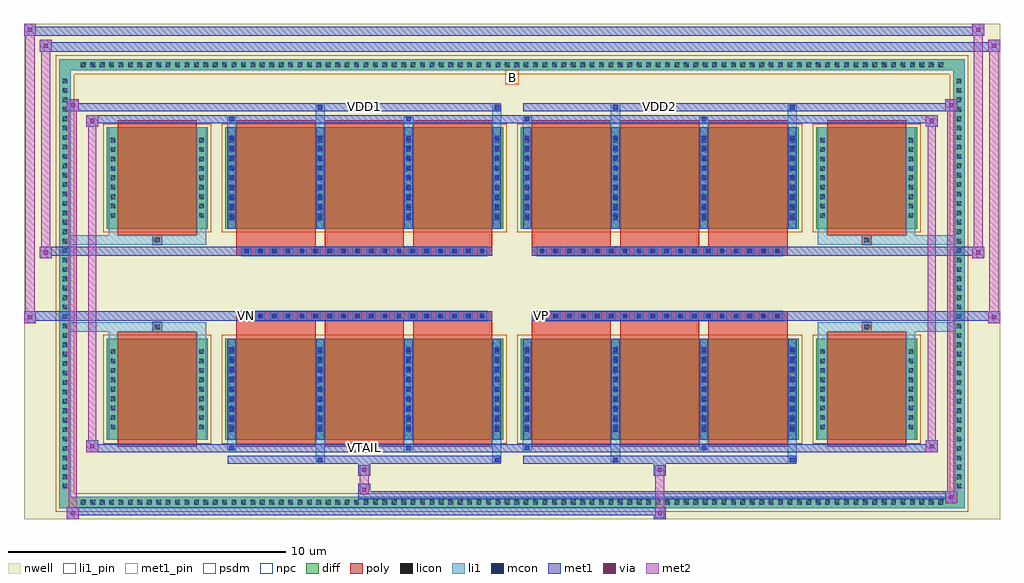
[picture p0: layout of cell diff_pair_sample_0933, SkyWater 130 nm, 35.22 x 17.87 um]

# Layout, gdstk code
import gdstk
lib = gdstk.Library(unit=1e-6, precision=5e-09)
def R(c, l, rs):  # rectangles x0, y0, x1, y1
    for r in rs: c.add(gdstk.rectangle(r[:2], r[2:], *l))
def A(c, l, x, y, w, h, nx, ny, dx, dy):  # array of equal rectangles
    R(c, l, [(x+i*dx, y+j*dy, x+i*dx+w, y+j*dy+h) for i in range(nx) for j in range(ny)])
def P(c, l, *ps):  # polygons
    for p in ps: c.add(gdstk.Polygon(p, *l))
nwell = (64, 20)
diff = (65, 20)
poly = (66, 20)
licon = (66, 44)
li1_pin = (67, 16)
li1 = (67, 20)
mcon = (67, 44)
met1_pin = (68, 16)
met1 = (68, 20)
via = (68, 44)
met2 = (69, 20)
psdm = (94, 20)
npc = (95, 20)

diff_pair_sample_0933 = lib.new_cell('diff_pair_sample_0933')
R(diff_pair_sample_0933, nwell, [(-17.61,-8.5,17.61,9.37), (-14.93,-6.69,-0.01,-0.805), (0.01,-6.69,14.93,-0.805), (-14.93,0.805,-0.01,6.69), (0.01,0.805,14.93,6.69)])
A(diff_pair_sample_0933, diff, -15.675, -8.1, 0.41, 0.41, 92, 2, 0.34, 15.79)
A(diff_pair_sample_0933, diff, -16.34, -7.515, 0.41, 0.41, 1, 44, 0, 0.34)
A(diff_pair_sample_0933, diff, 15.93, -7.515, 0.41, 0.41, 1, 44, 0, 0.34)
R(diff_pair_sample_0933, diff, [(-15.675,-8.1,15.675,-7.69), (-16.34,-7.515,-15.93,7.515), (15.93,-7.515,16.34,7.515), (-14.62,-5.645,-10.98,-1.985), (-10.34,-5.645,-0.32,-1.985), (0.32,-5.645,10.34,-1.985), (10.98,-5.645,14.62,-1.985), (-14.62,1.985,-10.98,5.645), (-10.34,1.985,-0.32,5.645), (0.32,1.985,10.34,5.645), (10.98,1.985,14.62,5.645), (-15.675,7.69,15.675,8.1)])
P(diff_pair_sample_0933, diff, [(16.34,8.1),(-16.34,8.1),(-16.34,-7.69),(-15.93,-7.69),(-15.93,7.69),(15.93,7.69),(15.93,-7.69),(-15.93,-7.69),(-16.34,-7.69),(-16.34,-8.1),(16.34,-8.1)])
A(diff_pair_sample_0933, poly, -9.95, -5.895, 2.86, 4.16, 3, 2, 3.19, 7.63)
A(diff_pair_sample_0933, poly, 0.71, -5.895, 2.86, 4.16, 3, 2, 3.19, 7.63)
A(diff_pair_sample_0933, poly, -9.95, -1.735, 2.86, 0.4, 3, 2, 3.19, 3.07)
A(diff_pair_sample_0933, poly, 0.71, -1.735, 2.86, 0.4, 3, 2, 3.19, 3.07)
A(diff_pair_sample_0933, poly, -9.745, -1.335, 0.33, 0.33, 18, 2, 0.5, 2.34)
A(diff_pair_sample_0933, poly, 0.915, -1.335, 0.33, 0.33, 18, 2, 0.5, 2.34)
R(diff_pair_sample_0933, poly, [(-14.23,-5.895,-11.37,-1.735), (11.37,-5.895,14.23,-1.735), (-12.965,-1.735,-12.635,-1.405), (-12.965,-1.735,-12.635,-1.405), (12.635,-1.735,12.965,-1.405), (12.635,-1.735,12.965,-1.405), (-9.95,-1.335,-0.71,-1.005), (0.71,-1.335,9.95,-1.005), (-9.95,1.005,-0.71,1.335), (0.71,1.005,9.95,1.335), (-12.965,1.405,-12.635,1.735), (-12.965,1.405,-12.635,1.735), (12.635,1.405,12.965,1.735), (12.635,1.405,12.965,1.735), (-14.23,1.735,-11.37,5.895), (11.37,1.735,14.23,5.895)])
A(diff_pair_sample_0933, licon, -15.555, -7.98, 0.17, 0.17, 92, 2, 0.34, 15.79)
A(diff_pair_sample_0933, licon, -16.22, -7.395, 0.17, 0.17, 1, 44, 0, 0.34)
A(diff_pair_sample_0933, licon, 16.05, -7.395, 0.17, 0.17, 1, 44, 0, 0.34)
A(diff_pair_sample_0933, licon, -14.48, -5.26, 0.17, 0.17, 1, 9, 0, 0.34)
A(diff_pair_sample_0933, licon, -11.29, -5.26, 0.17, 0.17, 1, 9, 0, 0.34)
A(diff_pair_sample_0933, licon, -10.2, -5.26, 0.17, 0.17, 4, 9, 3.19, 0.34)
A(diff_pair_sample_0933, licon, 0.46, -5.26, 0.17, 0.17, 4, 9, 3.19, 0.34)
A(diff_pair_sample_0933, licon, 11.12, -5.26, 0.17, 0.17, 1, 9, 0, 0.34)
A(diff_pair_sample_0933, licon, 14.31, -5.26, 0.17, 0.17, 1, 9, 0, 0.34)
A(diff_pair_sample_0933, licon, -9.665, -1.255, 0.17, 0.17, 18, 2, 0.5, 2.34)
A(diff_pair_sample_0933, licon, 0.995, -1.255, 0.17, 0.17, 18, 2, 0.5, 2.34)
A(diff_pair_sample_0933, licon, -14.48, 2.37, 0.17, 0.17, 1, 9, 0, 0.34)
A(diff_pair_sample_0933, licon, -11.29, 2.37, 0.17, 0.17, 1, 9, 0, 0.34)
A(diff_pair_sample_0933, licon, -10.2, 2.37, 0.17, 0.17, 4, 9, 3.19, 0.34)
A(diff_pair_sample_0933, licon, 0.46, 2.37, 0.17, 0.17, 4, 9, 3.19, 0.34)
A(diff_pair_sample_0933, licon, 11.12, 2.37, 0.17, 0.17, 1, 9, 0, 0.34)
A(diff_pair_sample_0933, licon, 14.31, 2.37, 0.17, 0.17, 1, 9, 0, 0.34)
R(diff_pair_sample_0933, licon, [(-12.885,-1.655,-12.715,-1.485), (12.715,-1.655,12.885,-1.485), (-12.885,1.485,-12.715,1.655), (12.715,1.485,12.885,1.655)])
R(diff_pair_sample_0933, li1_pin, [(-0.25,7.19,0.25,7.69)])
A(diff_pair_sample_0933, li1, -15.635, -8.06, 0.33, 0.33, 92, 2, 0.34, 15.79)
A(diff_pair_sample_0933, li1, -16.3, -7.475, 0.33, 0.33, 1, 44, 0, 0.34)
A(diff_pair_sample_0933, li1, 15.97, -7.475, 0.33, 0.33, 1, 44, 0, 0.34)
A(diff_pair_sample_0933, li1, -10.28, -5.645, 0.33, 3.66, 4, 2, 3.19, 7.63)
A(diff_pair_sample_0933, li1, 0.38, -5.645, 0.33, 3.66, 4, 2, 3.19, 7.63)
A(diff_pair_sample_0933, li1, -14.56, -5.34, 0.33, 0.33, 1, 9, 0, 0.34)
A(diff_pair_sample_0933, li1, -11.37, -5.34, 0.33, 0.33, 1, 9, 0, 0.34)
A(diff_pair_sample_0933, li1, -10.28, -5.34, 0.33, 0.33, 4, 9, 3.19, 0.34)
A(diff_pair_sample_0933, li1, -10.2, -5.34, 0.17, 0.17, 4, 9, 3.19, 0.36)
A(diff_pair_sample_0933, li1, -10.2, -5.34, 0.17, 3.05, 4, 2, 3.19, 7.63)
A(diff_pair_sample_0933, li1, 0.38, -5.34, 0.33, 0.33, 4, 9, 3.19, 0.34)
A(diff_pair_sample_0933, li1, 0.46, -5.34, 0.17, 0.17, 4, 9, 3.19, 0.36)
A(diff_pair_sample_0933, li1, 0.46, -5.34, 0.17, 3.05, 4, 2, 3.19, 7.63)
A(diff_pair_sample_0933, li1, 11.04, -5.34, 0.33, 0.33, 1, 9, 0, 0.34)
A(diff_pair_sample_0933, li1, 14.23, -5.34, 0.33, 0.33, 1, 9, 0, 0.34)
A(diff_pair_sample_0933, li1, -9.745, -1.335, 0.33, 0.33, 18, 2, 0.5, 2.34)
A(diff_pair_sample_0933, li1, 0.915, -1.335, 0.33, 0.33, 18, 2, 0.5, 2.34)
A(diff_pair_sample_0933, li1, -14.56, 2.29, 0.33, 0.33, 1, 9, 0, 0.34)
A(diff_pair_sample_0933, li1, -11.37, 2.29, 0.33, 0.33, 1, 9, 0, 0.34)
A(diff_pair_sample_0933, li1, -10.28, 2.29, 0.33, 0.33, 4, 9, 3.19, 0.34)
A(diff_pair_sample_0933, li1, -10.2, 2.29, 0.17, 0.17, 4, 9, 3.19, 0.36)
A(diff_pair_sample_0933, li1, 0.38, 2.29, 0.33, 0.33, 4, 9, 3.19, 0.34)
A(diff_pair_sample_0933, li1, 0.46, 2.29, 0.17, 0.17, 4, 9, 3.19, 0.36)
A(diff_pair_sample_0933, li1, 11.04, 2.29, 0.33, 0.33, 1, 9, 0, 0.34)
A(diff_pair_sample_0933, li1, 14.23, 2.29, 0.33, 0.33, 1, 9, 0, 0.34)
R(diff_pair_sample_0933, li1, [(-16.34,-8.1,-15.93,-7.69), (-16.34,-8.1,-15.93,-7.69), (-15.93,-8.1,15.93,-7.69), (15.93,-8.1,16.34,-7.69), (15.93,-8.1,16.34,-7.69), (-16.34,-7.69,-15.93,7.69), (15.93,-7.69,16.34,7.69), (-7.09,-6.45,-6.76,-5.645), (-7.01,-6.45,-6.84,-6.28), (-0.71,-6.45,-0.38,-5.645), (-0.63,-6.45,-0.46,-6.28), (3.57,-6.45,3.9,-5.645), (3.65,-6.45,3.82,-6.28), (9.95,-6.45,10.28,-5.645), (10.03,-6.45,10.2,-6.28), (-10.28,-6.02,-9.95,-5.645), (-10.2,-6.02,-10.03,-5.85), (-3.9,-6.02,-3.57,-5.645), (-3.82,-6.02,-3.65,-5.85), (0.38,-6.02,0.71,-5.645), (0.46,-6.02,0.63,-5.85), (6.76,-6.02,7.09,-5.645), (6.84,-6.02,7.01,-5.85), (-14.56,-5.645,-14.23,-1.985), (-11.37,-5.645,-11.04,-1.985), (11.04,-5.645,11.37,-1.985), (14.23,-5.645,14.56,-1.985), (-14.56,-1.985,-14.23,-1.405), (-11.37,-1.985,-11.04,-1.405), (11.04,-1.985,11.37,-1.405), (14.23,-1.985,14.56,-1.405), (-16.34,-1.735,-12.965,-1.405), (-14.56,-1.735,-12.965,-1.405), (-12.965,-1.735,-12.635,-1.405), (-12.635,-1.735,-11.04,-1.405), (11.04,-1.735,12.635,-1.405), (12.635,-1.735,12.965,-1.405), (12.635,-1.735,16.34,-1.405), (12.965,-1.735,14.56,-1.405), (-16.34,1.405,-12.965,1.735), (-14.56,1.405,-12.965,1.735), (-14.56,1.405,-14.23,1.985), (-12.965,1.405,-12.635,1.735), (-12.635,1.405,-11.04,1.735), (-11.37,1.405,-11.04,1.985), (11.04,1.405,12.635,1.735), (11.04,1.405,11.37,1.985), (12.635,1.405,12.965,1.735), (12.635,1.405,16.34,1.735), (12.965,1.405,14.56,1.735), (14.23,1.405,14.56,1.985), (-14.56,1.985,-14.23,5.645), (-11.37,1.985,-11.04,5.645), (11.04,1.985,11.37,5.645), (14.23,1.985,14.56,5.645), (-10.28,5.645,-9.95,6.02), (-7.09,5.645,-6.76,6.45), (-3.9,5.645,-3.57,6.02), (-0.71,5.645,-0.38,6.45), (0.38,5.645,0.71,6.02), (3.57,5.645,3.9,6.45), (6.76,5.645,7.09,6.02), (9.95,5.645,10.28,6.45), (-10.2,5.85,-10.03,6.02), (-3.82,5.85,-3.65,6.02), (0.46,5.85,0.63,6.02), (6.84,5.85,7.01,6.02), (-7.01,6.28,-6.84,6.45), (-0.63,6.28,-0.46,6.45), (3.65,6.28,3.82,6.45), (10.03,6.28,10.2,6.45), (-16.34,7.69,-15.93,8.1), (-16.34,7.69,-15.93,8.1), (-15.93,7.69,15.93,8.1), (15.93,7.69,16.34,8.1), (15.93,7.69,16.34,8.1)])
A(diff_pair_sample_0933, mcon, -10.2, -5.34, 0.17, 0.17, 4, 9, 3.19, 0.36)
A(diff_pair_sample_0933, mcon, 0.46, -5.34, 0.17, 0.17, 4, 9, 3.19, 0.36)
A(diff_pair_sample_0933, mcon, -9.665, -1.255, 0.17, 0.17, 18, 2, 0.5, 2.34)
A(diff_pair_sample_0933, mcon, 0.995, -1.255, 0.17, 0.17, 18, 2, 0.5, 2.34)
A(diff_pair_sample_0933, mcon, -10.2, 2.29, 0.17, 0.17, 4, 9, 3.19, 0.36)
A(diff_pair_sample_0933, mcon, 0.46, 2.29, 0.17, 0.17, 4, 9, 3.19, 0.36)
R(diff_pair_sample_0933, mcon, [(-7.01,-6.45,-6.84,-6.28), (-0.63,-6.45,-0.46,-6.28), (3.65,-6.45,3.82,-6.28), (10.03,-6.45,10.2,-6.28), (-10.2,-6.02,-10.03,-5.85), (-3.82,-6.02,-3.65,-5.85), (0.46,-6.02,0.63,-5.85), (6.84,-6.02,7.01,-5.85), (-10.2,5.85,-10.03,6.02), (-3.82,5.85,-3.65,6.02), (0.46,5.85,0.63,6.02), (6.84,5.85,7.01,6.02), (-7.01,6.28,-6.84,6.45), (-0.63,6.28,-0.46,6.45), (3.65,6.28,3.82,6.45), (10.03,6.28,10.2,6.45)])
R(diff_pair_sample_0933, met1_pin, [(-5.465,-6.06,-5.195,-5.79), (-9.715,-1.295,-9.445,-1.025), (0.945,-1.295,1.215,-1.025), (-5.465,6.24,-5.195,6.51), (5.195,6.24,5.465,6.51)])
A(diff_pair_sample_0933, met1, -10.26, -5.645, 0.29, 3.66, 4, 2, 3.19, 7.63)
A(diff_pair_sample_0933, met1, 0.4, -5.645, 0.29, 3.66, 4, 2, 3.19, 7.63)
A(diff_pair_sample_0933, met1, -10.26, -5.4, 0.29, 0.29, 4, 9, 3.19, 0.36)
A(diff_pair_sample_0933, met1, 0.4, -5.4, 0.29, 0.29, 4, 9, 3.19, 0.36)
A(diff_pair_sample_0933, met1, -9.725, -1.315, 0.29, 0.29, 18, 2, 0.5, 2.34)
A(diff_pair_sample_0933, met1, 0.935, -1.315, 0.29, 0.29, 18, 2, 0.5, 2.34)
A(diff_pair_sample_0933, met1, -10.26, 2.23, 0.29, 0.29, 4, 9, 3.19, 0.36)
A(diff_pair_sample_0933, met1, 0.4, 2.23, 0.29, 0.29, 4, 9, 3.19, 0.36)
R(diff_pair_sample_0933, met1, [(-16.07,-8.5,-15.64,-8.07), (5.115,-8.5,5.545,-8.07), (-16.07,-8.36,5.545,-8.07), (15.64,-7.93,16.07,-7.5), (-5.545,-7.79,16.07,-7.5), (-5.545,-7.65,-5.115,-7.22), (-5.545,-6.94,-5.115,-6.51), (5.115,-6.94,5.545,-6.51), (-10.26,-6.51,-0.4,-6.22), (-7.07,-6.51,-6.78,-6.22), (-0.69,-6.51,-0.4,-6.22), (0.4,-6.51,10.26,-6.22), (3.59,-6.51,3.88,-6.22), (9.97,-6.51,10.26,-6.22), (-15.36,-6.08,-14.93,-5.65), (-15.36,-6.08,-10.26,-5.79), (-10.26,-6.08,-9.97,-5.79), (-10.26,-6.08,-0.4,-5.79), (-3.88,-6.08,-3.59,-5.79), (-0.4,-6.08,0.4,-5.79), (0.4,-6.08,0.69,-5.79), (0.4,-6.08,10.26,-5.79), (6.78,-6.08,7.07,-5.79), (10.26,-6.08,15.36,-5.79), (14.93,-6.08,15.36,-5.65), (-17.61,-1.435,-17.18,-1.005), (17.18,-1.435,17.61,-1.005), (-17.61,-1.335,-0.71,-1.005), (-9.95,-1.335,-0.71,-1.005), (0.71,-1.335,9.95,-1.005), (0.71,-1.335,17.61,-1.005), (-17.04,0.905,-16.61,1.335), (16.61,0.905,17.04,1.335), (-17.04,1.005,-9.95,1.335), (-9.95,1.005,-0.71,1.335), (0.71,1.005,9.95,1.335), (9.95,1.005,17.04,1.335), (-15.36,5.65,-14.93,6.08), (14.93,5.65,15.36,6.08), (-15.36,5.79,-10.26,6.08), (-10.26,5.79,-9.97,6.08), (-10.26,5.79,-0.4,6.08), (-3.88,5.79,-3.59,6.08), (-0.4,5.79,0.4,6.08), (0.4,5.79,0.69,6.08), (0.4,5.79,10.26,6.08), (6.78,5.79,7.07,6.08), (10.26,5.79,15.36,6.08), (-16.07,6.22,-15.64,6.65), (-16.07,6.22,-10.26,6.51), (-10.26,6.22,-0.4,6.51), (-7.07,6.22,-6.78,6.51), (-0.69,6.22,-0.4,6.51), (0.4,6.22,10.26,6.51), (3.59,6.22,3.88,6.51), (9.97,6.22,10.26,6.51), (10.26,6.22,16.07,6.51), (15.64,6.22,16.07,6.65), (-17.04,8.37,-16.61,8.8), (-17.04,8.37,-14.93,8.7), (-14.93,8.37,14.93,8.7), (14.93,8.37,17.61,8.7), (17.18,8.37,17.61,8.8), (-17.61,8.94,-17.18,9.37), (-17.61,8.94,-14.93,9.27), (-14.93,8.94,14.93,9.27), (14.93,8.94,17.04,9.27), (16.61,8.94,17.04,9.37)])
R(diff_pair_sample_0933, via, [(-15.93,-8.36,-15.78,-8.21), (5.255,-8.36,5.405,-8.21), (15.78,-7.79,15.93,-7.64), (-5.405,-7.51,-5.255,-7.36), (-5.405,-6.8,-5.255,-6.65), (5.255,-6.8,5.405,-6.65), (-15.22,-5.94,-15.07,-5.79), (15.07,-5.94,15.22,-5.79), (-17.47,-1.295,-17.32,-1.145), (17.32,-1.295,17.47,-1.145), (-16.9,1.045,-16.75,1.195), (16.75,1.045,16.9,1.195), (-15.22,5.79,-15.07,5.94), (15.07,5.79,15.22,5.94), (-15.93,6.36,-15.78,6.51), (15.78,6.36,15.93,6.51), (-16.9,8.51,-16.75,8.66), (17.32,8.51,17.47,8.66), (-17.47,9.08,-17.32,9.23), (16.75,9.08,16.9,9.23)])
R(diff_pair_sample_0933, met2, [(-16.07,-8.5,-15.64,-8.07), (-16,-8.5,-15.71,6.65), (-15.71,-8.5,-15.64,-8.07), (-16.02,-8.45,-15.69,-8.12), (5.165,-8.45,5.495,-8.12), (5.165,-8.12,5.495,-6.89), (15.64,-7.93,16.07,-7.5), (15.71,-7.93,16,6.65), (16,-7.93,16.07,-7.5), (15.69,-7.88,16.02,-7.55), (-5.495,-7.6,-5.165,-7.27), (-5.495,-7.27,-5.165,-6.89), (-5.495,-6.89,-5.165,-6.56), (5.165,-6.89,5.495,-6.56), (-15.36,-6.08,-14.93,-5.65), (-15.29,-6.08,-15,6.08), (-15,-6.08,-14.93,-5.65), (14.93,-6.08,15.36,-5.65), (15,-6.08,15.29,6.08), (15.29,-6.08,15.36,-5.65), (-15.31,-6.03,-14.98,-5.7), (14.98,-6.03,15.31,-5.7), (-17.61,-1.435,-17.18,-1.005), (-17.56,-1.435,-17.23,9.37), (-17.23,-1.435,-17.18,-1.005), (17.18,-1.435,17.61,-1.005), (17.23,-1.435,17.56,8.8), (17.56,-1.435,17.61,-1.005), (-17.56,-1.385,-17.23,-1.055), (17.23,-1.385,17.56,-1.055), (-17.04,0.905,-16.61,1.335), (-16.99,0.905,-16.66,8.8), (-16.66,0.905,-16.61,1.335), (16.61,0.905,17.04,1.335), (16.66,0.905,16.99,9.37), (16.99,0.905,17.04,1.335), (-16.99,0.955,-16.66,1.285), (16.66,0.955,16.99,1.285), (-15.36,5.65,-14.93,6.08), (-15,5.65,-14.93,6.08), (14.93,5.65,15.36,6.08), (15.29,5.65,15.36,6.08), (-15.31,5.7,-14.98,6.03), (14.98,5.7,15.31,6.03), (-16.07,6.22,-15.64,6.65), (-15.71,6.22,-15.64,6.65), (15.64,6.22,16.07,6.65), (16,6.22,16.07,6.65), (-16.02,6.27,-15.69,6.6), (15.69,6.27,16.02,6.6), (-17.04,8.37,-16.61,8.8), (-16.66,8.37,-16.61,8.8), (17.18,8.37,17.61,8.8), (17.56,8.37,17.61,8.8), (-16.99,8.42,-16.66,8.75), (17.23,8.42,17.56,8.75), (-17.61,8.94,-17.18,9.37), (-17.23,8.94,-17.18,9.37), (16.61,8.94,17.04,9.37), (16.99,8.94,17.04,9.37), (-17.56,8.99,-17.23,9.32), (16.66,8.99,16.99,9.32)])
R(diff_pair_sample_0933, psdm, [(-14.75,-5.775,-10.85,-1.855), (-10.47,-5.775,-0.19,-1.855), (0.19,-5.775,10.47,-1.855), (10.85,-5.775,14.75,-1.855), (-14.75,1.855,-10.85,5.775), (-10.47,1.855,-0.19,5.775), (0.19,1.855,10.47,5.775), (10.85,1.855,14.75,5.775)])
P(diff_pair_sample_0933, psdm, [(16.47,8.23),(-16.47,8.23),(-16.47,-7.56),(-15.8,-7.56),(-15.8,7.56),(15.8,7.56),(15.8,-7.56),(-15.8,-7.56),(-16.47,-7.56),(-16.47,-8.23),(16.47,-8.23)])
A(diff_pair_sample_0933, npc, -9.765, -1.355, 0.37, 0.37, 18, 2, 0.5, 2.34)
A(diff_pair_sample_0933, npc, 0.895, -1.355, 0.37, 0.37, 18, 2, 0.5, 2.34)
R(diff_pair_sample_0933, npc, [(-12.985,-1.755,-12.615,-1.385), (12.615,-1.755,12.985,-1.385), (-9.765,-1.355,-8.895,-0.985), (-9.765,-1.355,-8.895,-0.985), (-9.265,-1.355,-8.395,-0.985), (-9.265,-1.355,-8.395,-0.985), (-8.765,-1.355,-7.895,-0.985), (-8.765,-1.355,-7.895,-0.985), (-8.265,-1.355,-7.395,-0.985), (-8.265,-1.355,-7.395,-0.985), (-7.765,-1.355,-6.895,-0.985), (-7.765,-1.355,-6.895,-0.985), (-7.265,-1.355,-6.395,-0.985), (-7.265,-1.355,-6.395,-0.985), (-6.765,-1.355,-5.895,-0.985), (-6.765,-1.355,-5.895,-0.985), (-6.265,-1.355,-5.395,-0.985), (-6.265,-1.355,-5.395,-0.985), (-5.765,-1.355,-4.895,-0.985), (-5.765,-1.355,-4.895,-0.985), (-5.265,-1.355,-4.395,-0.985), (-5.265,-1.355,-4.395,-0.985), (-4.765,-1.355,-3.895,-0.985), (-4.765,-1.355,-3.895,-0.985), (-4.265,-1.355,-3.395,-0.985), (-4.265,-1.355,-3.395,-0.985), (-3.765,-1.355,-2.895,-0.985), (-3.765,-1.355,-2.895,-0.985), (-3.265,-1.355,-2.395,-0.985), (-3.265,-1.355,-2.395,-0.985), (-2.765,-1.355,-1.895,-0.985), (-2.765,-1.355,-1.895,-0.985), (-2.265,-1.355,-1.395,-0.985), (-2.265,-1.355,-1.395,-0.985), (-1.765,-1.355,-0.895,-0.985), (-1.765,-1.355,-0.895,-0.985), (0.895,-1.355,1.765,-0.985), (0.895,-1.355,1.765,-0.985), (1.395,-1.355,2.265,-0.985), (1.395,-1.355,2.265,-0.985), (1.895,-1.355,2.765,-0.985), (1.895,-1.355,2.765,-0.985), (2.395,-1.355,3.265,-0.985), (2.395,-1.355,3.265,-0.985), (2.895,-1.355,3.765,-0.985), (2.895,-1.355,3.765,-0.985), (3.395,-1.355,4.265,-0.985), (3.395,-1.355,4.265,-0.985), (3.895,-1.355,4.765,-0.985), (3.895,-1.355,4.765,-0.985), (4.395,-1.355,5.265,-0.985), (4.395,-1.355,5.265,-0.985), (4.895,-1.355,5.765,-0.985), (4.895,-1.355,5.765,-0.985), (5.395,-1.355,6.265,-0.985), (5.395,-1.355,6.265,-0.985), (5.895,-1.355,6.765,-0.985), (5.895,-1.355,6.765,-0.985), (6.395,-1.355,7.265,-0.985), (6.395,-1.355,7.265,-0.985), (6.895,-1.355,7.765,-0.985), (6.895,-1.355,7.765,-0.985), (7.395,-1.355,8.265,-0.985), (7.395,-1.355,8.265,-0.985), (7.895,-1.355,8.765,-0.985), (7.895,-1.355,8.765,-0.985), (8.395,-1.355,9.265,-0.985), (8.395,-1.355,9.265,-0.985), (8.895,-1.355,9.765,-0.985), (8.895,-1.355,9.765,-0.985), (-9.765,0.985,-8.895,1.355), (-9.765,0.985,-8.895,1.355), (-9.265,0.985,-8.395,1.355), (-9.265,0.985,-8.395,1.355), (-8.765,0.985,-7.895,1.355), (-8.765,0.985,-7.895,1.355), (-8.265,0.985,-7.395,1.355), (-8.265,0.985,-7.395,1.355), (-7.765,0.985,-6.895,1.355), (-7.765,0.985,-6.895,1.355), (-7.265,0.985,-6.395,1.355), (-7.265,0.985,-6.395,1.355), (-6.765,0.985,-5.895,1.355), (-6.765,0.985,-5.895,1.355), (-6.265,0.985,-5.395,1.355), (-6.265,0.985,-5.395,1.355), (-5.765,0.985,-4.895,1.355), (-5.765,0.985,-4.895,1.355), (-5.265,0.985,-4.395,1.355), (-5.265,0.985,-4.395,1.355), (-4.765,0.985,-3.895,1.355), (-4.765,0.985,-3.895,1.355), (-4.265,0.985,-3.395,1.355), (-4.265,0.985,-3.395,1.355), (-3.765,0.985,-2.895,1.355), (-3.765,0.985,-2.895,1.355), (-3.265,0.985,-2.395,1.355), (-3.265,0.985,-2.395,1.355), (-2.765,0.985,-1.895,1.355), (-2.765,0.985,-1.895,1.355), (-2.265,0.985,-1.395,1.355), (-2.265,0.985,-1.395,1.355), (-1.765,0.985,-0.895,1.355), (-1.765,0.985,-0.895,1.355), (0.895,0.985,1.765,1.355), (0.895,0.985,1.765,1.355), (1.395,0.985,2.265,1.355), (1.395,0.985,2.265,1.355), (1.895,0.985,2.765,1.355), (1.895,0.985,2.765,1.355), (2.395,0.985,3.265,1.355), (2.395,0.985,3.265,1.355), (2.895,0.985,3.765,1.355), (2.895,0.985,3.765,1.355), (3.395,0.985,4.265,1.355), (3.395,0.985,4.265,1.355), (3.895,0.985,4.765,1.355), (3.895,0.985,4.765,1.355), (4.395,0.985,5.265,1.355), (4.395,0.985,5.265,1.355), (4.895,0.985,5.765,1.355), (4.895,0.985,5.765,1.355), (5.395,0.985,6.265,1.355), (5.395,0.985,6.265,1.355), (5.895,0.985,6.765,1.355), (5.895,0.985,6.765,1.355), (6.395,0.985,7.265,1.355), (6.395,0.985,7.265,1.355), (6.895,0.985,7.765,1.355), (6.895,0.985,7.765,1.355), (7.395,0.985,8.265,1.355), (7.395,0.985,8.265,1.355), (7.895,0.985,8.765,1.355), (7.895,0.985,8.765,1.355), (8.395,0.985,9.265,1.355), (8.395,0.985,9.265,1.355), (8.895,0.985,9.765,1.355), (8.895,0.985,9.765,1.355), (-12.985,1.385,-12.615,1.755), (12.615,1.385,12.985,1.755)])
diff_pair_sample_0933.add(gdstk.Label('VTAIL', (-5.33,-5.925), layer=68, texttype=5))
diff_pair_sample_0933.add(gdstk.Label('VN', (-9.58,-1.16), layer=68, texttype=5))
diff_pair_sample_0933.add(gdstk.Label('VP', (1.08,-1.16), layer=68, texttype=5))
diff_pair_sample_0933.add(gdstk.Label('B', (0,7.44), layer=67, texttype=5))
diff_pair_sample_0933.add(gdstk.Label('VDD2', (5.33,6.375), layer=68, texttype=5))
diff_pair_sample_0933.add(gdstk.Label('VDD1', (-5.33,6.375), layer=68, texttype=5))

lib.write_gds('diff_pair_sample_0933.gds')
